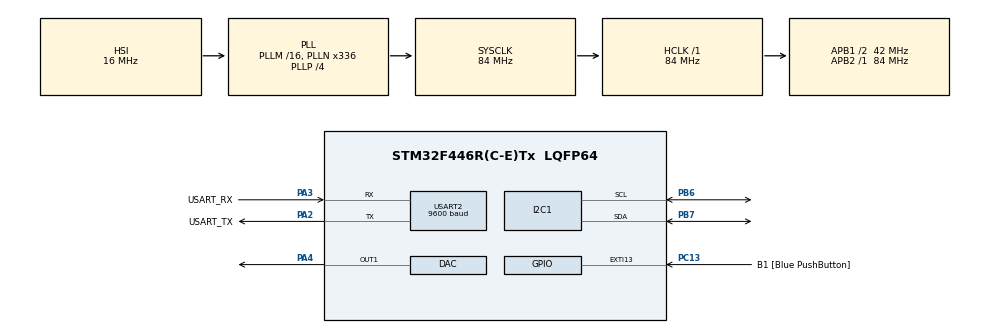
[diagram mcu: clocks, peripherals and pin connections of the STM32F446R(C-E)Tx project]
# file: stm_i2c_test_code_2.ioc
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DAC.DAC_Trigger=DAC_TRIGGER_T2_TRGO
Dma.DAC1.0.Direction=DMA_MEMORY_TO_PERIPH
Dma.DAC1.0.FIFOMode=DMA_FIFOMODE_DISABLE
Dma.DAC1.0.Instance=DMA1_Stream5
Dma.DAC1.0.MemDataAlignment=DMA_MDATAALIGN_WORD
Dma.DAC1.0.MemInc=DMA_MINC_ENABLE
Dma.DAC1.0.Mode=DMA_CIRCULAR
Dma.DAC1.0.PeriphDataAlignment=DMA_PDATAALIGN_WORD
Dma.DAC1.0.PeriphInc=DMA_PINC_DISABLE
Dma.DAC1.0.Priority=DMA_PRIORITY_HIGH
Dma.Request0=DAC1
FREERTOS.Queues01=FreqQueue,10,int,0,Dynamic,NULL,NULL
FREERTOS.Tasks01=Task1,40,2500,StartTask1,Default,NULL,Dynamic,NULL,NULL;Task2,24,128,StartTask2,Default,NULL,Dynamic,NULL,NULL;Task3,8,128,StartTask3,Default,NULL,Dynamic,NULL,NULL
FREERTOS.configUSE_NEWLIB_REENTRANT=1
Mcu.Family=STM32F4
Mcu.Name=STM32F446R(C-E)Tx
Mcu.Package=LQFP64
NVIC.DMA1_Stream5_IRQn=true\:5\:0\:false\:false\:true\:true\:false\:true\:true
NVIC.I2C1_ER_IRQn=true\:5\:0\:false\:false\:true\:true\:true\:true\:true
NVIC.I2C1_EV_IRQn=true\:5\:0\:false\:false\:true\:true\:true\:true\:true
NVIC.PriorityGroup=NVIC_PRIORITYGROUP_4
NVIC.TIM6_DAC_IRQn=true\:5\:0\:false\:false\:true\:false\:false\:true\:true
NVIC.TimeBase=TIM6_DAC_IRQn
NVIC.TimeBaseIP=TIM6
NVIC.USART2_IRQn=true\:5\:0\:false\:false\:true\:true\:true\:true\:true
PA13.GPIO_Label=TMS
PA13.Mode=Serial_Wire
PA13.Signal=SYS_JTMS-SWDIO
PA14.GPIO_Label=TCK
PA14.Mode=Serial_Wire
PA14.Signal=SYS_JTCK-SWCLK
PA2.GPIO_Label=USART_TX
PA2.Mode=Asynchronous
PA2.Signal=USART2_TX
PA3.GPIO_Label=USART_RX
PA3.Mode=Asynchronous
PA3.Signal=USART2_RX
PA4.Signal=COMP_DAC1_group
PB3.GPIO_Label=SWO
PB3.Signal=SYS_JTDO-SWO
PB6.Mode=I2C
PB6.Signal=I2C1_SCL
PB7.Mode=I2C
PB7.Signal=I2C1_SDA
PC13.GPIO_Label=B1 [Blue PushButton]
PC13.GPIO_ModeDefaultEXTI=GPIO_MODE_IT_FALLING
PC13.Signal=GPXTI13
PC14-OSC32_IN.Mode=LSE-External-Oscillator
PC14-OSC32_IN.Signal=RCC_OSC32_IN
PC15-OSC32_OUT.Mode=LSE-External-Oscillator
PC15-OSC32_OUT.Signal=RCC_OSC32_OUT
PH0-OSC_IN.Mode=HSE-External-Oscillator
PH0-OSC_IN.Signal=RCC_OSC_IN
PH1-OSC_OUT.Mode=HSE-External-Oscillator
PH1-OSC_OUT.Signal=RCC_OSC_OUT
ProjectManager.HeapSize=0x200
ProjectManager.StackSize=0x400
ProjectManager.TargetToolchain=STM32CubeIDE
RCC.48MHZClocksFreq_Value=84000000
RCC.AHBFreq_Value=84000000
RCC.APB1CLKDivider=RCC_HCLK_DIV2
RCC.APB1Freq_Value=42000000
RCC.APB1TimFreq_Value=84000000
RCC.APB2Freq_Value=84000000
RCC.APB2TimFreq_Value=84000000
RCC.CortexFreq_Value=84000000
RCC.FLatency-AdvancedSettings=FLASH_LATENCY_2
RCC.HCLKFreq_Value=84000000
RCC.HSE_VALUE=8000000
RCC.HSI_VALUE=16000000
RCC.PLLN=336
RCC.PLLP=RCC_PLLP_DIV4
RCC.SYSCLKFreq_VALUE=84000000
RCC.SYSCLKSource=RCC_SYSCLKSOURCE_PLLCLK
RCC.USBFreq_Value=168000000
RCC.VCOOutputFreq_Value=336000000
SH.COMP_DAC1_group.0=DAC_OUT1,DAC_OUT1
TIM2.AutoReloadPreload=TIM_AUTORELOAD_PRELOAD_ENABLE
TIM2.Period=2624
TIM2.Prescaler=999
TIM2.TIM_MasterOutputTrigger=TIM_TRGO_UPDATE
USART2.BaudRate=9600
USART2.VirtualMode=VM_ASYNC
VP_FREERTOS_VS_CMSIS_V2.Mode=CMSIS_V2
VP_SYS_VS_tim6.Mode=TIM6
VP_TIM2_VS_ClockSourceINT.Mode=Internal
board=NUCLEO-F446RE

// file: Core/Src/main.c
/* USER CODE BEGIN Header */
/**
  ******************************************************************************
  * @file           : main.c
  * @brief          : Main program body
  ******************************************************************************
  * @attention
  *
  * Copyright (c) 2026 STMicroelectronics.
  * All rights reserved.
  *
  * This software is licensed under terms that can be found in the LICENSE file
  * in the root directory of this software component.
  * If no LICENSE file comes with this software, it is provided AS-IS.
  *
  ******************************************************************************
  */
/* USER CODE END Header */
#include "main.h"
#include "cmsis_os.h"

/* USER CODE BEGIN Includes */
#include <stdio.h>
#include <string.h>
/* USER CODE END Includes */

/* USER CODE BEGIN PD */
	# define MEM_SIZE 1
	# define DATA_SIZE 1
	# define TIMEOUT 1000
/* USER CODE END PD */

DAC_HandleTypeDef hdac;
DMA_HandleTypeDef hdma_dac1;

I2C_HandleTypeDef hi2c1;

TIM_HandleTypeDef htim2;

UART_HandleTypeDef huart2;

/* Definitions for Task1 */
osThreadId_t Task1Handle;
const osThreadAttr_t Task1_attributes = {
  .name = "Task1",
  .stack_size = 2500 * 4,
  .priority = (osPriority_t) osPriorityHigh,
};
/* Definitions for Task2 */
osThreadId_t Task2Handle;
const osThreadAttr_t Task2_attributes = {
  .name = "Task2",
  .stack_size = 128 * 4,
  .priority = (osPriority_t) osPriorityNormal,
};
/* Definitions for Task3 */
osThreadId_t Task3Handle;
const osThreadAttr_t Task3_attributes = {
  .name = "Task3",
  .stack_size = 128 * 4,
  .priority = (osPriority_t) osPriorityLow,
};
/* Definitions for FreqQueue */
osMessageQueueId_t FreqQueueHandle;
const osMessageQueueAttr_t FreqQueue_attributes = {
  .name = "FreqQueue"
};

void SystemClock_Config(void);
static void MX_GPIO_Init(void);
static void MX_DMA_Init(void);
static void MX_USART2_UART_Init(void);
static void MX_DAC_Init(void);
static void MX_TIM2_Init(void);
static void MX_I2C1_Init(void);
void StartTask1(void *argument);
void StartTask2(void *argument);
void StartTask3(void *argument);

/* USER CODE BEGIN 0 */
void serial_message_print(uint8_t *msg, uint8_t msg_len)
{
	HAL_UART_Transmit(&huart2, msg, msg_len, 1000);
	osDelay(1);
}

void read_accel_data(uint8_t addr, float *accelx, float *accely, float *accelz)
{
	uint8_t raw_data[6];
	int16_t accel_x_raw, accel_y_raw, accel_z_raw;

	HAL_I2C_Mem_Read(&hi2c1, addr, 0x3B, MEM_SIZE, raw_data, 6, 1000);

	accel_x_raw = (int16_t)(raw_data[0] << 8 | raw_data[1]);
	accel_y_raw = (int16_t)(raw_data[2] << 8 | raw_data[3]);
	accel_z_raw = (int16_t)(raw_data[4] << 8 | raw_data[5]);

	*accelx = accel_x_raw / 16384.0;
	*accely = accel_y_raw / 16384.0;
	*accelz = accel_z_raw / 16384.0;

}

void read_gyro_data(uint8_t addr, float *gyrox, float *gyroy, float *gyroz)
{
	uint8_t raw_data[6];
	int16_t gryo_x_raw, gryo_y_raw, gryo_z_raw;

	HAL_I2C_Mem_Read(&hi2c1, addr, 0x43, MEM_SIZE, raw_data, 6, 1000);

	gryo_x_raw = (int16_t)(raw_data[0] << 8 | raw_data[1]);
	gryo_y_raw = (int16_t)(raw_data[2] << 8 | raw_data[3]);
	gryo_z_raw = (int16_t)(raw_data[4] << 8 | raw_data[5]);

	*gyrox = gryo_x_raw / 131.0;
	*gyroy = gryo_y_raw / 131.0;
	*gyroz = gryo_z_raw / 131.0;

}
void print_data(float number)
{
	char str[20];

	sprintf(str, "%f", number);
	strcat(str, "\n");
	serial_message_print(str, strlen(str));
}
/* USER CODE END 0 */

int main(void)
{

  /* MCU Configuration--------------------------------------------------------*/

  /* Reset of all peripherals, Initializes the Flash interface and the Systick. */
  HAL_Init();

  /* Configure the system clock */
  SystemClock_Config();

  /* Initialize all configured peripherals */
  MX_GPIO_Init();
  MX_DMA_Init();
  MX_USART2_UART_Init();
  MX_DAC_Init();
  MX_TIM2_Init();
  MX_I2C1_Init();

  /* Init scheduler */
  osKernelInitialize();

  /* Create the queue(s) */
  /* creation of FreqQueue */
  FreqQueueHandle = osMessageQueueNew (10, sizeof(int), &FreqQueue_attributes);

  /* Create the thread(s) */
  /* creation of Task1 */
  Task1Handle = osThreadNew(StartTask1, NULL, &Task1_attributes);

  /* creation of Task2 */
  Task2Handle = osThreadNew(StartTask2, NULL, &Task2_attributes);

  /* creation of Task3 */
  Task3Handle = osThreadNew(StartTask3, NULL, &Task3_attributes);

  /* Start scheduler */
  osKernelStart();

  /* We should never get here as control is now taken by the scheduler */

  /* Infinite loop */
  while (1)
  {

  }
}

void SystemClock_Config(void)
{
  RCC_OscInitTypeDef RCC_OscInitStruct = {0};
  RCC_ClkInitTypeDef RCC_ClkInitStruct = {0};

  /** Configure the main internal regulator output voltage
  */
  __HAL_RCC_PWR_CLK_ENABLE();
  __HAL_PWR_VOLTAGESCALING_CONFIG(PWR_REGULATOR_VOLTAGE_SCALE3);

  /** Initializes the RCC Oscillators according to the specified parameters
  * in the RCC_OscInitTypeDef structure.
  */
  RCC_OscInitStruct.OscillatorType = RCC_OSCILLATORTYPE_HSI;
  RCC_OscInitStruct.HSIState = RCC_HSI_ON;
  RCC_OscInitStruct.HSICalibrationValue = RCC_HSICALIBRATION_DEFAULT;
  RCC_OscInitStruct.PLL.PLLState = RCC_PLL_ON;
  RCC_OscInitStruct.PLL.PLLSource = RCC_PLLSOURCE_HSI;
  RCC_OscInitStruct.PLL.PLLM = 16;
  RCC_OscInitStruct.PLL.PLLN = 336;
  RCC_OscInitStruct.PLL.PLLP = RCC_PLLP_DIV4;
  RCC_OscInitStruct.PLL.PLLQ = 2;
  RCC_OscInitStruct.PLL.PLLR = 2;
  if (HAL_RCC_OscConfig(&RCC_OscInitStruct) != HAL_OK)
  {
    Error_Handler();
  }

  /** Initializes the CPU, AHB and APB buses clocks
  */
  RCC_ClkInitStruct.ClockType = RCC_CLOCKTYPE_HCLK|RCC_CLOCKTYPE_SYSCLK
                              |RCC_CLOCKTYPE_PCLK1|RCC_CLOCKTYPE_PCLK2;
  RCC_ClkInitStruct.SYSCLKSource = RCC_SYSCLKSOURCE_PLLCLK;
  RCC_ClkInitStruct.AHBCLKDivider = RCC_SYSCLK_DIV1;
  RCC_ClkInitStruct.APB1CLKDivider = RCC_HCLK_DIV2;
  RCC_ClkInitStruct.APB2CLKDivider = RCC_HCLK_DIV1;

  if (HAL_RCC_ClockConfig(&RCC_ClkInitStruct, FLASH_LATENCY_2) != HAL_OK)
  {
    Error_Handler();
  }
}

static void MX_DAC_Init(void)
{

  DAC_ChannelConfTypeDef sConfig = {0};

  /** DAC Initialization
  */
  hdac.Instance = DAC;
  if (HAL_DAC_Init(&hdac) != HAL_OK)
  {
    Error_Handler();
  }

  /** DAC channel OUT1 config
  */
  sConfig.DAC_Trigger = DAC_TRIGGER_T2_TRGO;
  sConfig.DAC_OutputBuffer = DAC_OUTPUTBUFFER_ENABLE;
  if (HAL_DAC_ConfigChannel(&hdac, &sConfig, DAC_CHANNEL_1) != HAL_OK)
  {
    Error_Handler();
  }

}

static void MX_I2C1_Init(void)
{

  hi2c1.Instance = I2C1;
  hi2c1.Init.ClockSpeed = 100000;
  hi2c1.Init.DutyCycle = I2C_DUTYCYCLE_2;
  hi2c1.Init.OwnAddress1 = 0;
  hi2c1.Init.AddressingMode = I2C_ADDRESSINGMODE_7BIT;
  hi2c1.Init.DualAddressMode = I2C_DUALADDRESS_DISABLE;
  hi2c1.Init.OwnAddress2 = 0;
  hi2c1.Init.GeneralCallMode = I2C_GENERALCALL_DISABLE;
  hi2c1.Init.NoStretchMode = I2C_NOSTRETCH_DISABLE;
  if (HAL_I2C_Init(&hi2c1) != HAL_OK)
  {
    Error_Handler();
  }

}

static void MX_TIM2_Init(void)
{

  TIM_ClockConfigTypeDef sClockSourceConfig = {0};
  TIM_MasterConfigTypeDef sMasterConfig = {0};

  htim2.Instance = TIM2;
  htim2.Init.Prescaler = 999;
  htim2.Init.CounterMode = TIM_COUNTERMODE_UP;
  htim2.Init.Period = 2624;
  htim2.Init.ClockDivision = TIM_CLOCKDIVISION_DIV1;
  htim2.Init.AutoReloadPreload = TIM_AUTORELOAD_PRELOAD_ENABLE;
  if (HAL_TIM_Base_Init(&htim2) != HAL_OK)
  {
    Error_Handler();
  }
  sClockSourceConfig.ClockSource = TIM_CLOCKSOURCE_INTERNAL;
  if (HAL_TIM_ConfigClockSource(&htim2, &sClockSourceConfig) != HAL_OK)
  {
    Error_Handler();
  }
  sMasterConfig.MasterOutputTrigger = TIM_TRGO_UPDATE;
  sMasterConfig.MasterSlaveMode = TIM_MASTERSLAVEMODE_DISABLE;
  if (HAL_TIMEx_MasterConfigSynchronization(&htim2, &sMasterConfig) != HAL_OK)
  {
    Error_Handler();
  }

}

static void MX_USART2_UART_Init(void)
{

  huart2.Instance = USART2;
  huart2.Init.BaudRate = 9600;
  huart2.Init.WordLength = UART_WORDLENGTH_8B;
  huart2.Init.StopBits = UART_STOPBITS_1;
  huart2.Init.Parity = UART_PARITY_NONE;
  huart2.Init.Mode = UART_MODE_TX_RX;
  huart2.Init.HwFlowCtl = UART_HWCONTROL_NONE;
  huart2.Init.OverSampling = UART_OVERSAMPLING_16;
  if (HAL_UART_Init(&huart2) != HAL_OK)
  {
    Error_Handler();
  }

}

static void MX_DMA_Init(void)
{

  /* DMA controller clock enable */
  __HAL_RCC_DMA1_CLK_ENABLE();

  /* DMA interrupt init */
  /* DMA1_Stream5_IRQn interrupt configuration */
  HAL_NVIC_SetPriority(DMA1_Stream5_IRQn, 5, 0);
  HAL_NVIC_EnableIRQ(DMA1_Stream5_IRQn);

}

static void MX_GPIO_Init(void)
{
  GPIO_InitTypeDef GPIO_InitStruct = {0};

  /* GPIO Ports Clock Enable */
  __HAL_RCC_GPIOC_CLK_ENABLE();
  __HAL_RCC_GPIOH_CLK_ENABLE();
  __HAL_RCC_GPIOA_CLK_ENABLE();
  __HAL_RCC_GPIOB_CLK_ENABLE();

  /*Configure GPIO pin : B1_Pin */
  GPIO_InitStruct.Pin = B1_Pin;
  GPIO_InitStruct.Mode = GPIO_MODE_IT_FALLING;
  GPIO_InitStruct.Pull = GPIO_NOPULL;
  HAL_GPIO_Init(B1_GPIO_Port, &GPIO_InitStruct);

}

void StartTask1(void *argument)
{
  /* USER CODE BEGIN 5 */
  /* Infinite loop */
	uint8_t check;
	uint8_t data;
	uint8_t addr_b = 0x68;
	uint8_t addr = 0x68 << 1;

	uint8_t *good_message = "IMU is connected\n";
	uint8_t good_message_len = strlen(good_message);

	uint8_t *bad_message = "IMU is not connected\n";
	uint8_t bad_message_len = strlen(bad_message);
	uint8_t *tx_message;
	uint8_t tx_message_len;

	uint8_t mema_1 = 0x75;
	uint8_t mema_2 = 0x6B;
	uint8_t mema_3 = 0x19;
	uint8_t mema_4 = 0x1B, mema_5 = 0x1C;

	float accel_x_print_out, accel_y_print_out, accel_z_print_out;
	float gyro_x_print_out, gyro_y_print_out, gyro_z_print_out;

	HAL_I2C_Mem_Read(&hi2c1, addr, mema_1, MEM_SIZE, &check, DATA_SIZE, TIMEOUT);

	if (check == addr_b)
	{
		serial_message_print(good_message, good_message_len);

	}
	else
	{
		serial_message_print(bad_message, bad_message_len);
	}

	data = 0x00;
	HAL_I2C_Mem_Write(&hi2c1, addr, mema_2, MEM_SIZE, &data, DATA_SIZE, TIMEOUT);

	data = 0x07;
	HAL_I2C_Mem_Write(&hi2c1, addr, mema_3, MEM_SIZE, &data, DATA_SIZE, TIMEOUT);

	data = 0x00;
	HAL_I2C_Mem_Write(&hi2c1, addr, mema_4, MEM_SIZE, &data, DATA_SIZE, TIMEOUT);
	HAL_I2C_Mem_Write(&hi2c1, addr, mema_5, MEM_SIZE, &data, DATA_SIZE, TIMEOUT);

	for(;;)
  {

		read_accel_data(addr, &accel_x_print_out, &accel_y_print_out, &accel_z_print_out);
		read_gyro_data(addr, &gyro_x_print_out, &gyro_y_print_out, &gyro_z_print_out);

		print_data(accel_x_print_out);
		print_data(accel_y_print_out);
		print_data(accel_z_print_out);
		print_data(gyro_x_print_out);
		print_data(gyro_y_print_out);
		print_data(gyro_z_print_out);
		serial_message_print("\n", strlen("\n"));
		osDelay(100);
  }
  /* USER CODE END 5 */
}

void StartTask2(void *argument)
{
  for(;;)
  {
    osDelay(1);
  }
}

void StartTask3(void *argument)
{
  for(;;)
  {
    osDelay(1);
  }
}

void HAL_TIM_PeriodElapsedCallback(TIM_HandleTypeDef *htim)
{
  if (htim->Instance == TIM6)
  {
    HAL_IncTick();
  }
}

void Error_Handler(void)
{
  __disable_irq();
  while (1)
  {
  }
}
